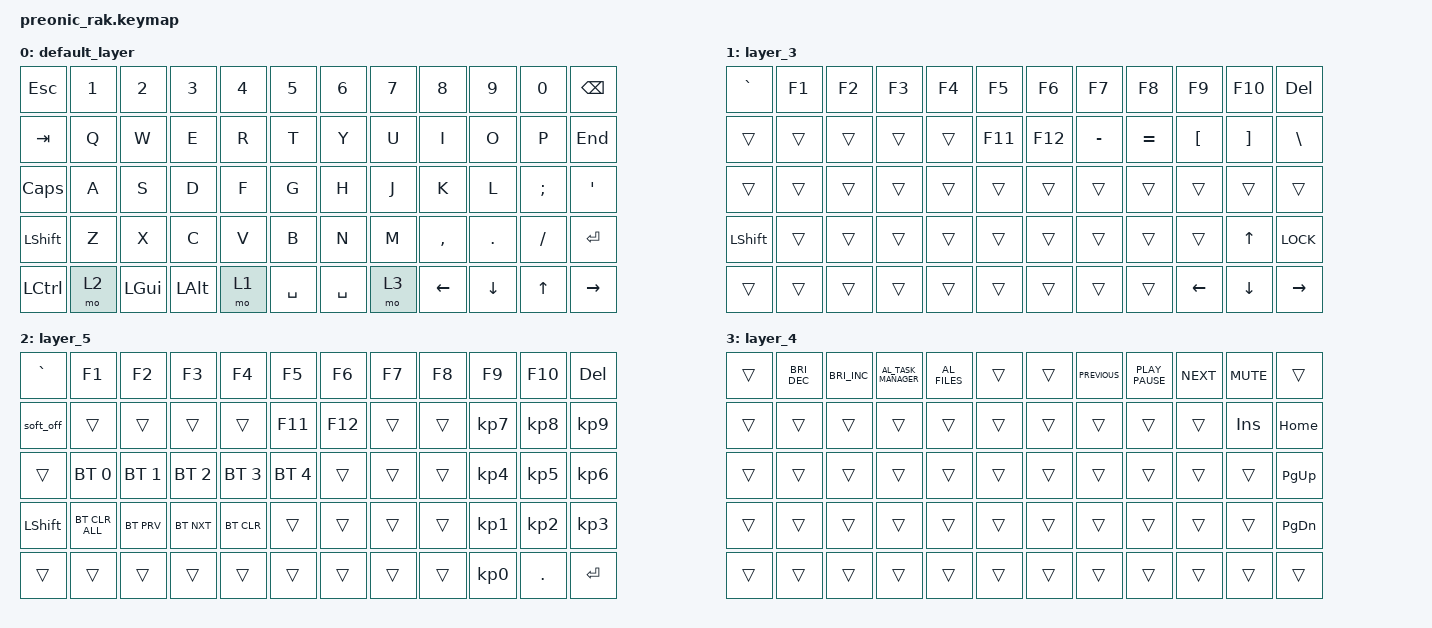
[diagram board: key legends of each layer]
#include <behaviors.dtsi>
#include <dt-bindings/zmk/bt.h>
#include <dt-bindings/zmk/keys.h>

#define DEFAULT 0
#define LOWER   1
#define RAISE   2

&soft_off {
    hold-time-ms = <3000>; // Only turn off it the key is held for 5 seconds or longer.
};

/ {
    keymap {
        compatible = "zmk,keymap";

        default_layer {
            //  -------------------------------------------------------------------------------------------------
            // |  ESC  |  1   |  2   |  3   |  4    |  5     |   6     |  7     |  8   |  9    |   0   | BSPC   |
            // |  TAB  |  Q   |  W   |  E   |  R    |  T     |   Y     |  U     |  I   |  O    |   P   | DEL    |
            // |CAPSLCK|  A   |  S   |  D   |  F    |  G     |   H     |  J     |  K   |  L    |   ;   |  '     |
            // |LSHIFT |  Z   |  X   |  C   |  V    |  B     |   N     |  M     |  ,   |  .    |   /   | RET    |
            // | LCTRL | LGUI | LALT | LCTL | LOWER | SPACE  |  SPACE  |  RAISE | LEFT |  DOWN |   UP  | RIGHT  |

            bindings = <
&kp ESC       &kp N1  &kp N2        &kp N3        &kp N4  &kp N5     &kp N6     &kp N7  &kp N8     &kp N9    &kp N0     &kp BSPC
&kp TAB       &kp Q   &kp W         &kp E         &kp R   &kp T      &kp Y      &kp U   &kp I      &kp O     &kp P      &kp END
&kp CAPSLOCK  &kp A   &kp S         &kp D         &kp F   &kp G      &kp H      &kp J   &kp K      &kp L     &kp SEMI   &kp SQT
&kp LSHIFT    &kp Z   &kp X         &kp C         &kp V   &kp B      &kp N      &kp M   &kp COMMA  &kp DOT   &kp SLASH  &kp RET
&kp LCTRL     &mo 2   &kp LEFT_GUI  &kp LEFT_ALT  &mo 1   &kp SPACE  &kp SPACE  &mo 3   &kp LEFT   &kp DOWN  &kp UP     &kp RIGHT
            >;
        };

        layer_3 {
            bindings = <
&kp GRAVE  &kp F1  &kp F2  &kp F3  &kp F4  &kp F5   &kp F6   &kp F7     &kp F8     &kp F9            &kp F10            &kp DELETE
&trans     &trans  &trans  &trans  &trans  &kp F11  &kp F12  &kp MINUS  &kp EQUAL  &kp LEFT_BRACKET  &kp RIGHT_BRACKET  &kp BACKSLASH
&trans     &trans  &trans  &trans  &trans  &trans   &trans   &trans     &trans     &trans            &trans             &trans
&kp LSHFT  &trans  &trans  &trans  &trans  &trans   &trans   &trans     &trans     &trans            &kp UP             &kp K_LOCK
&trans     &trans  &trans  &trans  &trans  &trans   &trans   &trans     &trans     &kp LEFT          &kp DOWN           &kp RIGHT
            >;
        };

        layer_5 {
            bindings = <
&kp GRAVE  &kp F1          &kp F2        &kp F3        &kp F4        &kp F5        &kp F6   &kp F7  &kp F8  &kp F9           &kp F10          &kp DELETE
&soft_off     &trans          &trans        &trans        &trans        &kp F11       &kp F12  &trans  &trans  &kp KP_NUMBER_7  &kp KP_NUMBER_8  &kp KP_NUMBER_9
&trans     &bt BT_SEL 0    &bt BT_SEL 1  &bt BT_SEL 2  &bt BT_SEL 3  &bt BT_SEL 4  &trans   &trans  &trans  &kp KP_NUMBER_4  &kp KP_NUMBER_5  &kp KP_NUMBER_6
&kp LSHFT  &bt BT_CLR_ALL  &bt BT_PRV    &bt BT_NXT    &bt BT_CLR    &trans        &trans   &trans  &trans  &kp KP_NUMBER_1  &kp KP_NUMBER_2  &kp KP_NUMBER_3
&trans     &trans          &trans        &trans        &trans        &trans        &trans   &trans  &trans  &kp KP_NUMBER_0  &kp DOT          &kp ENTER
            >;
        };

        layer_4 {
            bindings = <
&trans  &kp C_BRIGHTNESS_DEC  &kp C_BRIGHTNESS_INC  &kp C_AL_TASK_MANAGER  &kp C_AL_FILES  &trans  &trans  &kp K_PREVIOUS  &kp K_PLAY_PAUSE  &kp K_NEXT  &kp C_MUTE  &trans
&trans  &trans                &trans                &trans                 &trans          &trans  &trans  &trans          &trans            &trans      &kp INS     &kp HOME
&trans  &trans                &trans                &trans                 &trans          &trans  &trans  &trans          &trans            &trans      &trans      &kp PG_UP
&trans  &trans                &trans                &trans                 &trans          &trans  &trans  &trans          &trans            &trans      &trans      &kp PAGE_DOWN
&trans  &trans                &trans                &trans                 &trans          &trans  &trans  &trans          &trans            &trans      &trans      &trans
            >;
        };
    };
};
